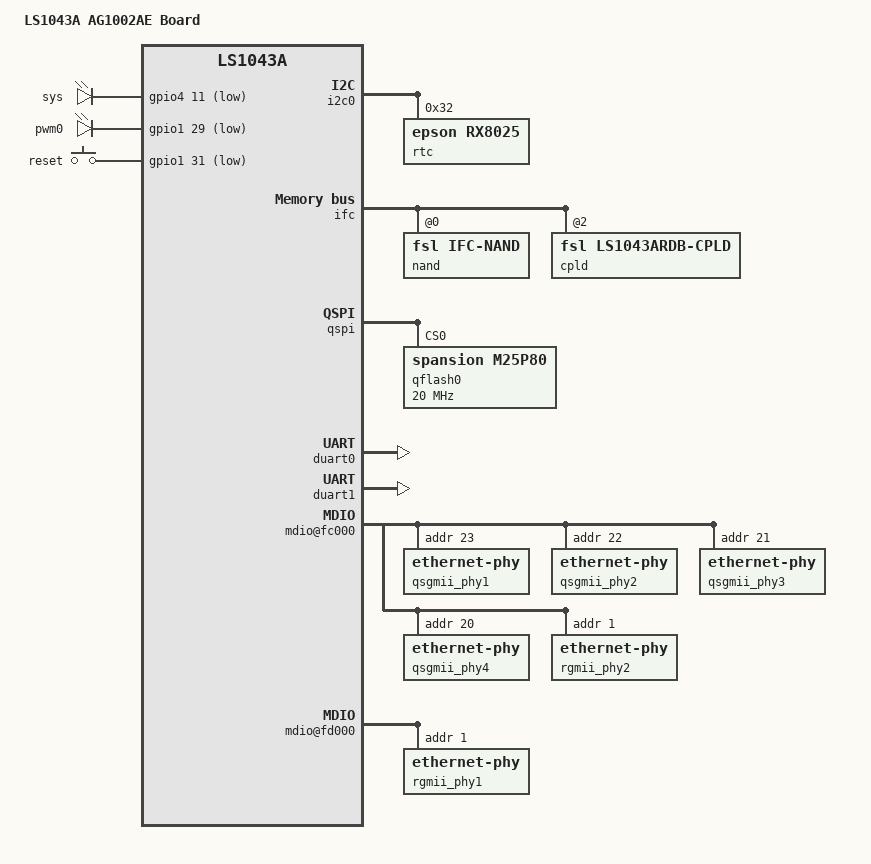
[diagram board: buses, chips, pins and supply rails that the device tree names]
// SPDX-License-Identifier: (GPL-2.0+ OR MIT)
/*
 * Device Tree Include file for Freescale Layerscape-1043A family SoC.
 *
 * Copyright 2014-2015 Freescale Semiconductor, Inc.
 *
 * Mingkai Hu <Mingkai.hu@freescale.com>
 */

/dts-v1/;
#include "../hclink-ls1043a.dtsi"

/ {
	model = "LS1043A AG1002AE Board";

	aliases {
		crypto = &crypto;
		serial0 = &duart0;
		serial1 = &duart1;
		serial2 = &duart2;
		serial3 = &duart3;
	};

	chosen {
		stdout-path = "serial0:115200n8";
	};
};

&esdhc {
	mmc-hs200-1_8v;
	sd-uhs-sdr104;
	sd-uhs-sdr50;
	sd-uhs-sdr25;
	sd-uhs-sdr12;
};

&i2c0 {
	status = "okay";
	rtc@32 {
		compatible = "epson,rx8025";
		reg = <0x32>;
	};
};

&leds {
	sys {
		label = "sys";
		gpios = <&gpio4 11 1>;
		linux,default-trigger = "timer";
	};				
	pwm0 {
		label = "pwm0";
		gpios = <&gpio1 29 1>;	
		default-state = "off";	
	};
};

&keys{
	reset {
		label = "reset";
		gpios = <&gpio1 31 1>;
		linux,code = <0x198>;
	};
};

&ifc {
	#address-cells = <2>;
	#size-cells = <1>;
	/* NAND Flashe and CPLD on board */
	ranges = <0x0 0x0 0x0 0x7e800000 0x00010000
		  0x2 0x0 0x0 0x7fb00000 0x00000100>;
	status = "okay";

	nand@0,0 {
		compatible = "fsl,ifc-nand";
		#address-cells = <1>;
		#size-cells = <1>;
		reg = <0x0 0x0 0x10000>;
	};

	cpld: board-control@2,0 {
		compatible = "fsl,ls1043ardb-cpld";
		reg = <0x2 0x0 0x0000100>;
	};
};

&qspi {
	status = "okay";
	qflash0: s25fs512s@0 {
		compatible = "spansion,m25p80";
		#address-cells = <1>;
		#size-cells = <1>;
		spi-max-frequency = <20000000>;
		m25p,fast-read;
		reg = <0>;
		spi-rx-bus-width = <1>;
		spi-tx-bus-width = <1>;
	};
};

&uqe {
	ucc_hdlc: ucc@2000 {
		compatible = "fsl,ucc-hdlc";
		rx-clock-name = "clk8";
		tx-clock-name = "clk9";
		fsl,rx-sync-clock = "rsync_pin";
		fsl,tx-sync-clock = "tsync_pin";
		fsl,tx-timeslot-mask = <0xfffffffe>;
		fsl,rx-timeslot-mask = <0xfffffffe>;
		fsl,tdm-framer-type = "e1";
		fsl,tdm-id = <0>;
		fsl,siram-entry-id = <0>;
		fsl,tdm-interface;
	};
};

&duart0 {
	status = "okay";
};

&duart1 {
	status = "okay";
};

#include "../fsl-ls1043-post.dtsi"

&fman0 {
	ethernet@e0000 {
		phy-handle = <&qsgmii_phy1>;
		phy-connection-type = "qsgmii";
	};	

	ethernet@e2000 {
		phy-handle = <&qsgmii_phy2>;
		phy-connection-type = "qsgmii";
	};

	ethernet@e4000 {
		phy-handle = <&rgmii_phy1>;
		phy-connection-type = "rgmii";
	};

	ethernet@e6000 {
		phy-handle = <&rgmii_phy2>;
		phy-connection-type = "rgmii";
	};

	ethernet@e8000 {
		phy-handle = <&qsgmii_phy3>;
		phy-connection-type = "qsgmii";
	};

	ethernet@ea000 {
		phy-handle = <&qsgmii_phy4>;
		phy-connection-type = "qsgmii";
	};

	mdio@fc000 {
		qsgmii_phy1: ethernet-phy@3 {
			reg = <0x17>;
		};	

		qsgmii_phy2: ethernet-phy@1 {
			reg = <0x16>;
		};

		qsgmii_phy3: ethernet-phy@2 {
			reg = <0x15>;
		};

		qsgmii_phy4: ethernet-phy@5 {
			reg = <0x14>;
		};

		rgmii_phy2: ethernet-phy@4 {
			reg = <0x1>;
		};
	};

	mdio@fd000 {
		rgmii_phy1: ethernet-phy@5 {
			reg = <0x1>;
		};
	};
};
